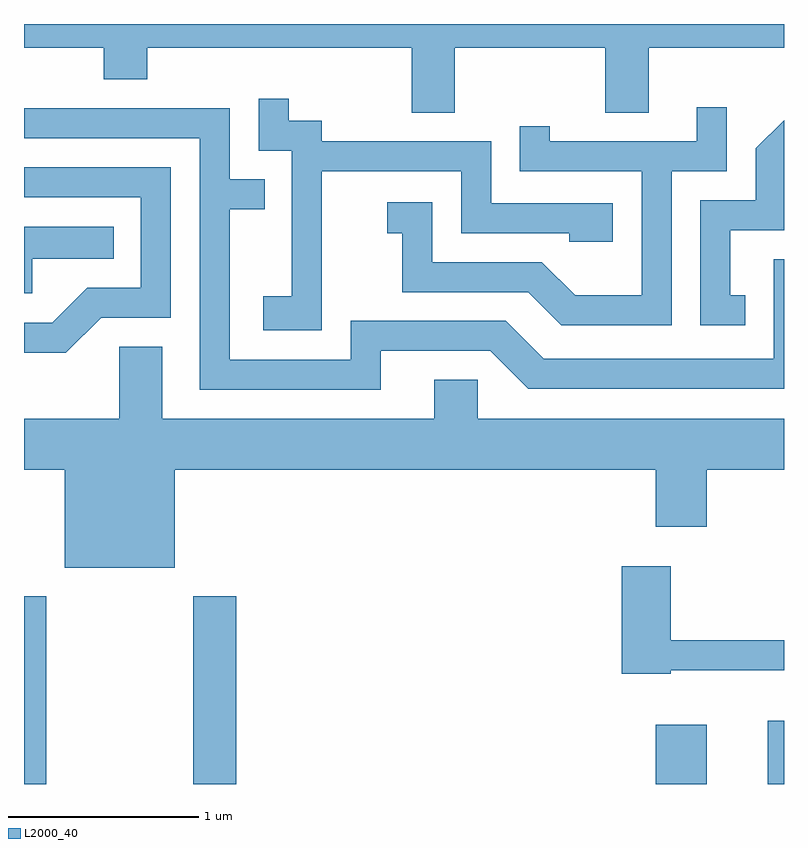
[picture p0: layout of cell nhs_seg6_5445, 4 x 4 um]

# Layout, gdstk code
import gdstk
lib = gdstk.Library(unit=1e-6, precision=1e-09)
def R(c, l, rs):  # rectangles x0, y0, x1, y1
    for r in rs: c.add(gdstk.rectangle(r[:2], r[2:], *l))
def P(c, l, *ps):  # polygons
    for p in ps: c.add(gdstk.Polygon(p, *l))
L2000_40 = (2000, 40)

nhs_seg6_5445 = lib.new_cell('nhs_seg6_5445')
R(nhs_seg6_5445, L2000_40, [(351.611,1546.162,351.729,1547.149), (352.501,1546.162,352.729,1547.149), (354.936,1546.162,355.204,1546.474), (355.526,1546.162,355.611,1546.494)])
P(nhs_seg6_5445, L2000_40, [(353.879,1550.036),(354.671,1550.036),(354.671,1549.696),(354.899,1549.696),(354.899,1550.036),(355.611,1550.036),(355.611,1550.162),(351.611,1550.162),(351.611,1550.036),(352.031,1550.036),(352.031,1549.871),(352.259,1549.871),(352.259,1550.036),(353.651,1550.036),(353.651,1549.696),(353.879,1549.696)],
  [(353.179,1549.386),(353.911,1549.386),(353.911,1549.061),(354.481,1549.061),(354.481,1549.016),(354.709,1549.016),(354.709,1549.219),(354.069,1549.219),(354.069,1549.544),(353.179,1549.544),(353.179,1549.654),(353.004,1549.654),(353.004,1549.768),(352.846,1549.768),(352.846,1549.496),(353.021,1549.496),(353.021,1548.729),(352.871,1548.729),(352.871,1548.551),(353.179,1548.551)],
  [(355.019,1549.386),(355.309,1549.386),(355.309,1549.723),(355.151,1549.723),(355.151,1549.544),(354.379,1549.544),(354.379,1549.623),(354.221,1549.623),(354.221,1549.386),(354.861,1549.386),(354.861,1548.734),(354.512,1548.734),(354.337,1548.909),(353.759,1548.909),(353.759,1549.224),(353.523,1549.224),(353.523,1549.061),(353.601,1549.061),(353.601,1548.751),(354.264,1548.751),(354.439,1548.576),(355.019,1548.576)],
  [(353.489,1548.441),(354.064,1548.441),(354.264,1548.241),(355.611,1548.241),(355.611,1548.924),(355.556,1548.924),(355.556,1548.399),(354.347,1548.399),(354.147,1548.599),(353.331,1548.599),(353.331,1548.394),(352.694,1548.394),(352.694,1549.186),(352.878,1549.186),(352.878,1549.344),(352.694,1549.344),(352.694,1549.719),(351.611,1549.719),(351.611,1549.561),(352.536,1549.561),(352.536,1548.236),(353.489,1548.236)],
  [(355.408,1548.734),(355.329,1548.734),(355.329,1549.076),(355.611,1549.076),(355.611,1549.656),(355.461,1549.507),(355.461,1549.234),(355.171,1549.234),(355.171,1548.576),(355.408,1548.576)],
  [(352.017,1548.616),(352.384,1548.616),(352.384,1549.409),(351.611,1549.409),(351.611,1549.251),(352.226,1549.251),(352.226,1548.774),(351.944,1548.774),(351.759,1548.589),(351.611,1548.589),(351.611,1548.431),(351.832,1548.431)],
  [(351.654,1548.926),(352.083,1548.926),(352.083,1549.094),(351.611,1549.094),(351.611,1548.746),(351.654,1548.746)],
  [(352.404,1547.816),(354.936,1547.816),(354.936,1547.516),(355.204,1547.516),(355.204,1547.816),(355.611,1547.816),(355.611,1548.084),(353.999,1548.084),(353.999,1548.289),(353.771,1548.289),(353.771,1548.084),(352.339,1548.084),(352.339,1548.464),(352.111,1548.464),(352.111,1548.084),(351.611,1548.084),(351.611,1547.816),(351.826,1547.816),(351.826,1547.301),(352.404,1547.301)],
  [(355.014,1546.761),(355.611,1546.761),(355.611,1546.919),(355.014,1546.919),(355.014,1547.309),(354.756,1547.309),(354.756,1546.741),(355.014,1546.741)])

lib.write_gds('nhs_seg6_5445.gds')
